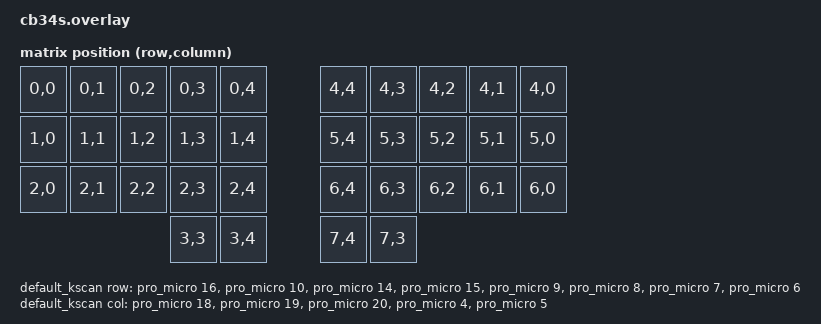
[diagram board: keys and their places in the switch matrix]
#include <dt-bindings/zmk/matrix_transform.h>

/ {
    chosen {
        zmk,kscan = &default_kscan;
        zmk,matrix_transform = &default_transform;
    };

    default_kscan: kscan {
        compatible = "zmk,kscan-gpio-matrix";
        label = "default_kscan";
        diode-direction = "row2col";
        col-gpios
            = <&pro_micro 18 (GPIO_ACTIVE_HIGH | GPIO_PULL_DOWN)> // COL0
            , <&pro_micro 19 (GPIO_ACTIVE_HIGH | GPIO_PULL_DOWN)> // COL1
            , <&pro_micro 20 (GPIO_ACTIVE_HIGH | GPIO_PULL_DOWN)> // COL2
            , <&pro_micro 4 (GPIO_ACTIVE_HIGH | GPIO_PULL_DOWN)>  // COL3
            , <&pro_micro 5 (GPIO_ACTIVE_HIGH | GPIO_PULL_DOWN)>  // COL4
        ;
        row-gpios
            = <&pro_micro 16 (GPIO_ACTIVE_HIGH)> // ROW0
            , <&pro_micro 10 (GPIO_ACTIVE_HIGH)> // ROW1
            , <&pro_micro 14 (GPIO_ACTIVE_HIGH)> // ROW2
            , <&pro_micro 15 (GPIO_ACTIVE_HIGH)> // ROW3
            , <&pro_micro 9 (GPIO_ACTIVE_HIGH)>  // ROW4
            , <&pro_micro 8 (GPIO_ACTIVE_HIGH)>  // ROW5
            , <&pro_micro 7 (GPIO_ACTIVE_HIGH)>  // ROW6
            , <&pro_micro 6 (GPIO_ACTIVE_HIGH)>  // ROW7
        ;
            
    };

    default_transform: matrix_transform {
        compatible = "zmk,matrix-transform";
        columns = <5>;
        rows = <8>;

        map = <
            RC(0,0) RC(0,1) RC(0,2) RC(0,3) RC(0,4)    RC(4,4) RC(4,3) RC(4,2) RC(4,1) RC(4,0)
            RC(1,0) RC(1,1) RC(1,2) RC(1,3) RC(1,4)    RC(5,4) RC(5,3) RC(5,2) RC(5,1) RC(5,0)
            RC(2,0) RC(2,1) RC(2,2) RC(2,3) RC(2,4)    RC(6,4) RC(6,3) RC(6,2) RC(6,1) RC(6,0)
                                    RC(3,3) RC(3,4)    RC(7,4) RC(7,3)
                    
        >;
    };
};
